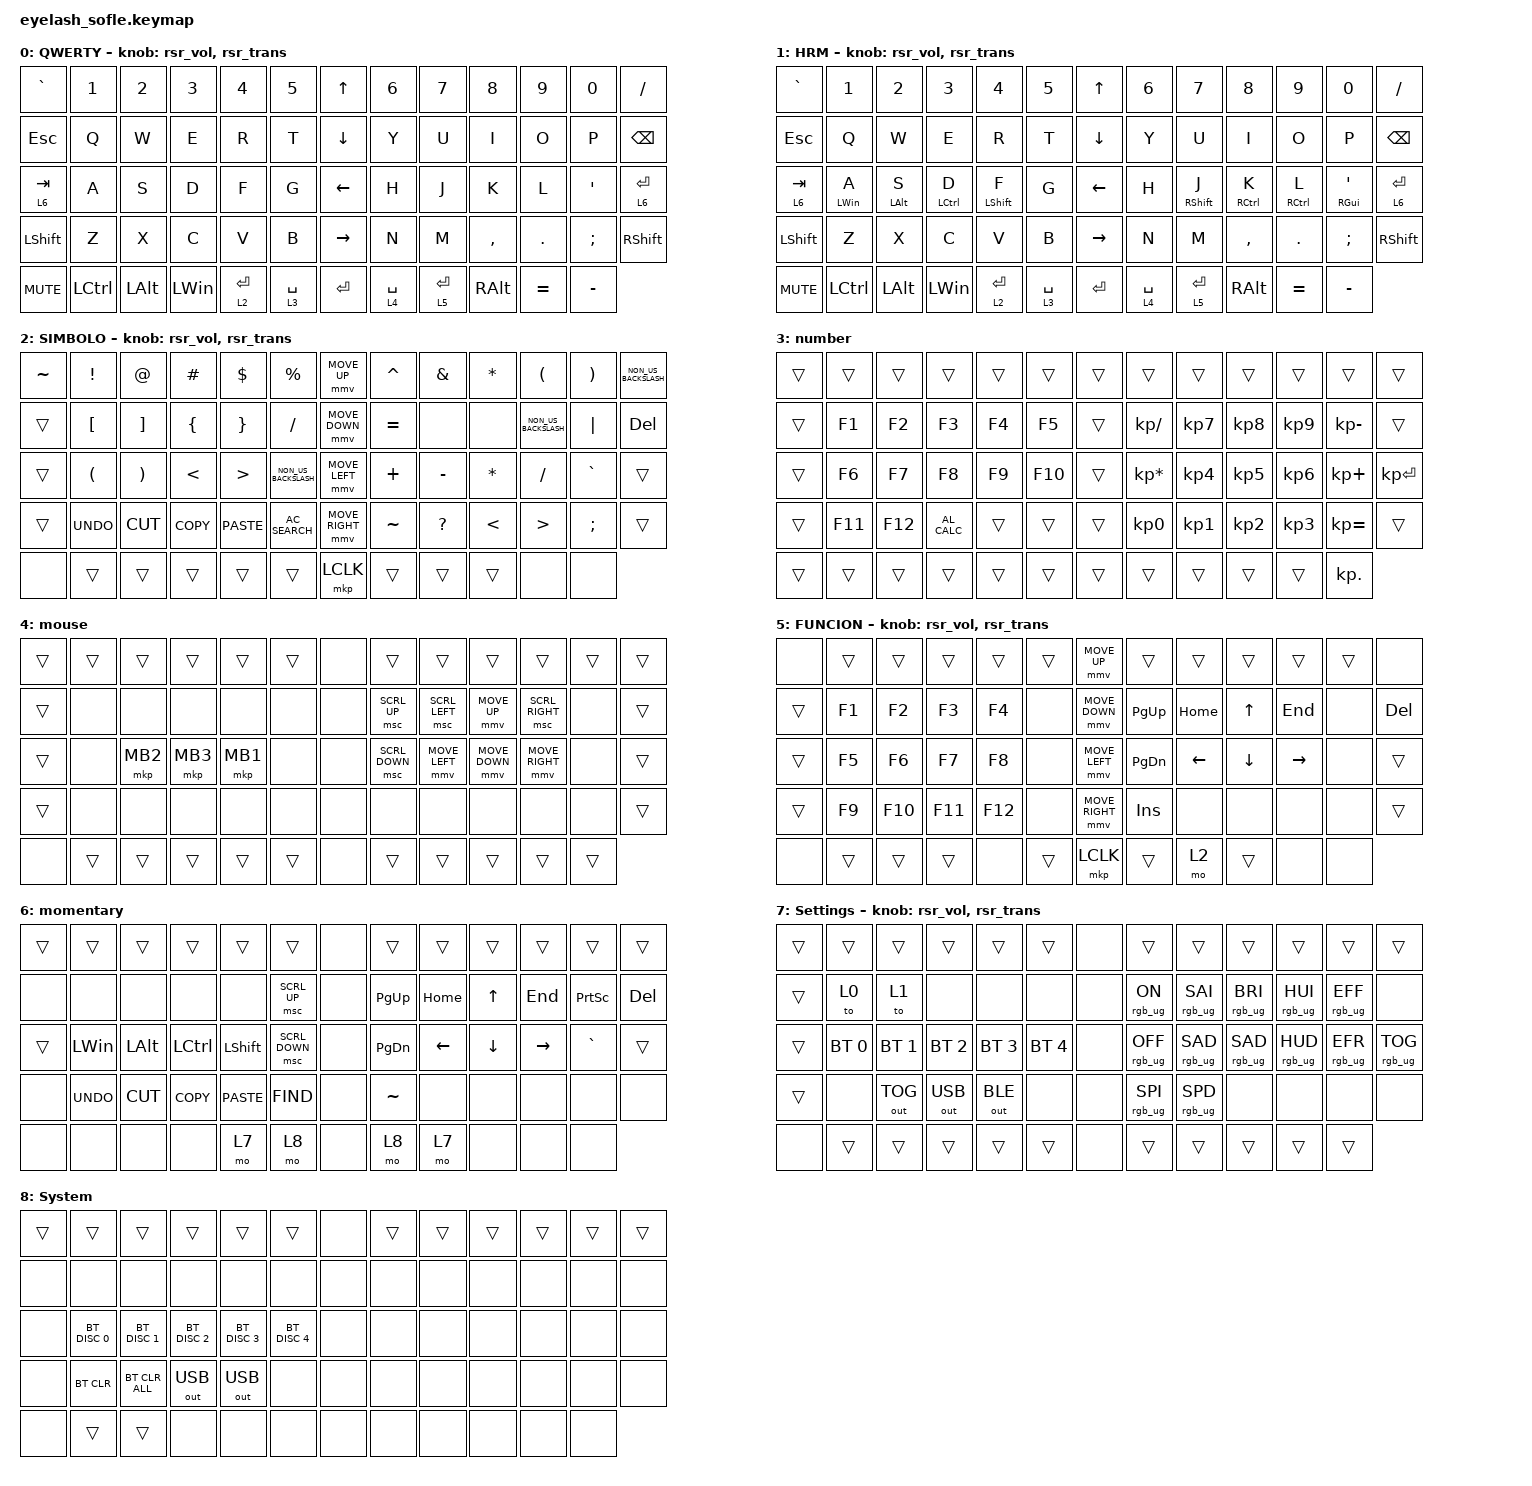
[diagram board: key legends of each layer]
#define ZMK_POINTING_DEFAULT_MOVE_VAL 1200  // 600
#define ZMK_POINTING_DEFAULT_SCRL_VAL 25   // 10

#include <input/processors.dtsi>
#include <zephyr/dt-bindings/input/input-event-codes.h>
#include <behaviors/runtime-sensor-rotate.dtsi>
#include <behaviors.dtsi>
#include <dt-bindings/zmk/bt.h>
#include <dt-bindings/zmk/keys.h>
#include <dt-bindings/zmk/outputs.h>
#include <dt-bindings/zmk/pointing.h>
#include <dt-bindings/zmk/rgb.h>

&mmv_input_listener { input-processors = <&zip_xy_scaler 2 1>; };

&msc_input_listener { input-processors = <&zip_scroll_scaler 2 1>; };

&msc {
    acceleration-exponent = <1>;      // 0
    time-to-max-speed-ms = <100>;       // 300
    delay-ms = <0>;                   // 0
};

&mmv {
    time-to-max-speed-ms = <500>;
    acceleration-exponent = <1>;
    trigger-period-ms = <16>;
};

&soft_off { hold-time-ms = <2000>; };

/ {
    scroll_encoder: scroll_encoder {
        compatible = "zmk,behavior-sensor-rotate";
        #sensor-binding-cells = <0>;
        bindings = <&msc SCRL_DOWN>, <&msc SCRL_UP>;

        tap-ms = <100>;
    };

    behaviors {
        rsr_vol: rsr_vol {
            compatible = "zmk,behavior-runtime-sensor-rotate";
            #sensor-binding-cells = <0>;
            tap-ms = <5>;
            cw-binding = <&kp C_VOL_UP>;
            ccw-binding = <&kp C_VOL_DN>;
        };

        rsr_trans: rsr_trans {
            compatible = "zmk,behavior-runtime-sensor-rotate";
            #sensor-binding-cells = <0>;
            tap-ms = <0>;
        };
    };

    combos {
        compatible = "zmk,combos";

        softoff {
            bindings = <&soft_off>;
            key-positions = <14 28 40>;
        };
    };

    macros {
        SHIFT_MCLK: SHIFT_MCLK {
            compatible = "zmk,behavior-macro";
            #binding-cells = <0>;
            bindings =
                <&macro_press>,
                <&kp LEFT_SHIFT>,
                <&macro_press>,
                <&mkp MB3>,
                <&macro_pause_for_release>,
                <&macro_release>,
                <&kp LEFT_SHIFT &mkp MB3>;

            label = "SHIFT_MCLK";
        };
    };

    keymap {
        compatible = "zmk,keymap";

        querty_layer {
            bindings = <
&kp GRAVE   &kp N1     &kp N2        &kp N3        &kp N4       &kp N5         &kp UP_ARROW     &kp N6       &kp N7       &kp N8         &kp N9     &kp N0            &kp SLASH
&kp ESCAPE  &kp Q      &kp W         &kp E         &kp R        &kp T          &kp DOWN_ARROW   &kp Y        &kp U        &kp I          &kp O      &kp P             &kp BACKSPACE
&lt 6 TAB   &kp A      &kp S         &kp D         &kp F        &kp G          &kp LEFT_ARROW   &kp H        &kp J        &kp K          &kp L      &kp SINGLE_QUOTE  &lt 6 ENTER
&kp LSHFT   &kp Z      &kp X         &kp C         &kp V        &kp B          &kp RIGHT_ARROW  &kp N        &kp M        &kp COMMA      &kp DOT    &kp SEMICOLON     &kp RIGHT_SHIFT
&kp C_MUTE  &kp LCTRL  &kp LEFT_ALT  &kp LEFT_WIN  &lt 2 ENTER  &lt 3 SPACE    &kp ENTER        &lt 4 SPACE  &lt 5 ENTER  &kp RIGHT_ALT  &kp EQUAL  &kp MINUS
            >;

            sensor-bindings = <&rsr_vol &rsr_trans>;
            display-name = "QWERTY";
        };

        hmr_layer {
            display-name = "HRM";
            bindings = <
&kp GRAVE   &kp N1          &kp N2          &kp N3              &kp N4            &kp N5         &kp UP_ARROW     &kp N6       &kp N7             &kp N8               &kp N9               &kp N0                      &kp SLASH
&kp ESCAPE  &kp Q           &kp W           &kp E               &kp R             &kp T          &kp DOWN_ARROW   &kp Y        &kp U              &kp I                &kp O                &kp P                       &kp BACKSPACE
&lt 6 TAB   &mt LEFT_WIN A  &mt LEFT_ALT S  &mt LEFT_CONTROL D  &mt LEFT_SHIFT F  &kp G          &kp LEFT_ARROW   &kp H        &mt RIGHT_SHIFT J  &mt RIGHT_CONTROL K  &mt RIGHT_CONTROL L  &mt RIGHT_GUI SINGLE_QUOTE  &lt 6 ENTER
&kp LSHFT   &kp Z           &kp X           &kp C               &kp V             &kp B          &kp RIGHT_ARROW  &kp N        &kp M              &kp COMMA            &kp DOT              &kp SEMICOLON               &kp RIGHT_SHIFT
&kp C_MUTE  &kp LCTRL       &kp LEFT_ALT    &kp LEFT_WIN        &lt 2 ENTER       &lt 3 SPACE    &kp ENTER        &lt 4 SPACE  &lt 5 ENTER        &kp RIGHT_ALT        &kp EQUAL            &kp MINUS
            >;

            sensor-bindings = <&rsr_vol>, <&rsr_trans>;
        };

        Simbolo {
            bindings = <
&kp TILDE  &kp EXCLAMATION       &kp AT_SIGN            &kp POUND       &kp DOLLAR        &kp PERCENT             &mmv MOVE_UP     &kp CARET  &kp AMPERSAND  &kp ASTERISK   &kp LEFT_PARENTHESIS  &kp RIGHT_PARENTHESIS  &kp NON_US_BACKSLASH
&trans     &kp LEFT_BRACKET      &kp RIGHT_BRACKET      &kp LEFT_BRACE  &kp RIGHT_BRACE   &kp SLASH               &mmv MOVE_DOWN   &kp EQUAL  &none          &none          &kp NON_US_BACKSLASH  &kp PIPE               &kp DEL
&trans     &kp LEFT_PARENTHESIS  &kp RIGHT_PARENTHESIS  &kp LESS_THAN   &kp GREATER_THAN  &kp NON_US_BACKSLASH    &mmv MOVE_LEFT   &kp PLUS   &kp MINUS      &kp ASTRK      &kp FSLH              &kp GRAVE              &trans
&trans     &kp K_UNDO            &kp K_CUT              &kp K_COPY      &kp K_PASTE       &kp C_AC_SEARCH         &mmv MOVE_RIGHT  &kp TILDE  &kp QUESTION   &kp LESS_THAN  &kp GREATER_THAN      &kp SEMICOLON          &trans
&none      &trans                &trans                 &trans          &trans            &trans                  &mkp LCLK        &trans     &trans         &trans         &none                 &none
            >;

            sensor-bindings = <&rsr_vol &rsr_trans>;
            display-name = "SIMBOLO";
        };

        number_layer {
            bindings = <
&trans  &trans   &trans   &trans         &trans  &trans     &trans  &trans           &trans     &trans     &trans           &trans        &trans
&trans  &kp F1   &kp F2   &kp F3         &kp F4  &kp F5     &trans  &kp KP_SLASH     &kp KP_N7  &kp KP_N8  &kp KP_NUMBER_9  &kp KP_MINUS  &trans
&trans  &kp F6   &kp F7   &kp F8         &kp F9  &kp F10    &trans  &kp KP_MULTIPLY  &kp KP_N4  &kp KP_N5  &kp KP_N6        &kp KP_PLUS   &kp KP_ENTER
&trans  &kp F11  &kp F12  &kp C_AL_CALC  &trans  &trans     &trans  &kp KP_N0        &kp KP_N1  &kp KP_N2  &kp KP_N3        &kp KP_EQUAL  &trans
&trans  &trans   &trans   &trans         &trans  &trans     &trans  &trans           &trans     &trans     &trans           &kp KP_DOT
            >;

            label = "number";
        };

        mouse_layer {
            bindings = <
&trans  &trans  &trans    &trans    &trans    &trans    &none  &trans          &trans          &trans          &trans           &trans  &trans
&trans  &none   &none     &none     &none     &none     &none  &msc SCRL_UP    &msc SCRL_LEFT  &mmv MOVE_UP    &msc SCRL_RIGHT  &none   &trans
&trans  &none   &mkp MB2  &mkp MB3  &mkp MB1  &none     &none  &msc SCRL_DOWN  &mmv MOVE_LEFT  &mmv MOVE_DOWN  &mmv MOVE_RIGHT  &none   &trans
&trans  &none   &none     &none     &none     &none     &none  &none           &none           &none           &none            &none   &trans
&none   &trans  &trans    &trans    &trans    &trans    &none  &trans          &trans          &trans          &trans           &trans
            >;

            label = "mouse";
        };

        Funciones {
            bindings = <
&none   &trans  &trans   &trans   &trans   &trans    &mmv MOVE_UP     &trans         &trans    &trans          &trans     &trans  &none
&trans  &kp F1  &kp F2   &kp F3   &kp F4   &none     &mmv MOVE_DOWN   &kp PAGE_UP    &kp HOME  &kp UP_ARROW    &kp END    &none   &kp DEL
&trans  &kp F5  &kp F6   &kp F7   &kp F8   &none     &mmv MOVE_LEFT   &kp PAGE_DOWN  &kp LEFT  &kp DOWN_ARROW  &kp RIGHT  &none   &trans
&trans  &kp F9  &kp F10  &kp F11  &kp F12  &none     &mmv MOVE_RIGHT  &kp INSERT     &none     &none           &none      &none   &trans
&none   &trans  &trans   &trans   &none    &trans    &mkp LCLK        &trans         &mo 2     &trans          &none      &none
            >;

            display-name = "FUNCION";
            sensor-bindings = <&rsr_vol &rsr_trans>;
        };

        maxtend_layer {
            bindings = <
&trans  &trans        &trans        &trans            &trans          &trans            &none  &trans         &trans    &trans        &trans     &trans           &trans
&none   &none         &none         &none             &none           &msc SCRL_UP      &none  &kp PAGE_UP    &kp HOME  &kp UP_ARROW  &kp END    &kp PRINTSCREEN  &kp DEL
&trans  &kp LEFT_WIN  &kp LEFT_ALT  &kp LEFT_CONTROL  &kp LEFT_SHIFT  &msc SCRL_DOWN    &none  &kp PAGE_DOWN  &kp LEFT  &kp DOWN      &kp RIGHT  &kp GRAVE        &trans
&none   &kp K_UNDO    &kp K_CUT     &kp K_COPY        &kp K_PASTE     &kp K_FIND        &none  &kp TILDE      &none     &none         &none      &none            &none
&none   &none         &none         &none             &mo 7           &mo 8             &none  &mo 8          &mo 7     &none         &none      &none
            >;

            label = "momentary";
        };

        settings_layer {
            display-name = "Settings";
            bindings = <
&trans  &trans        &trans        &trans        &trans        &trans          &none  &trans           &trans           &trans           &trans           &trans           &trans
&trans  &to 0         &to 1         &none         &none         &none           &none  &rgb_ug RGB_ON   &rgb_ug RGB_SAI  &rgb_ug RGB_BRI  &rgb_ug RGB_HUI  &rgb_ug RGB_EFF  &none
&trans  &bt BT_SEL 0  &bt BT_SEL 1  &bt BT_SEL 2  &bt BT_SEL 3  &bt BT_SEL 4    &none  &rgb_ug RGB_OFF  &rgb_ug RGB_SAD  &rgb_ug RGB_SAD  &rgb_ug RGB_HUD  &rgb_ug RGB_EFR  &rgb_ug RGB_TOG
&trans  &none         &out OUT_TOG  &out OUT_USB  &out OUT_BLE  &none           &none  &rgb_ug RGB_SPI  &rgb_ug RGB_SPD  &none            &none            &none            &none
&none   &trans        &trans        &trans        &trans        &trans          &none  &trans           &trans           &trans           &trans           &trans
            >;

            sensor-bindings = <&rsr_vol>, <&rsr_trans>;
        };

        system_layer {
            bindings = <
&trans  &trans         &trans          &trans         &trans         &trans           &none  &trans  &trans  &trans  &trans  &trans  &trans
&none   &none          &none           &none          &none          &none            &none  &none   &none   &none   &none   &none   &none
&none   &bt BT_DISC 0  &bt BT_DISC 1   &bt BT_DISC 2  &bt BT_DISC 3  &bt BT_DISC 4    &none  &none   &none   &none   &none   &none   &none
&none   &bt BT_CLR     &bt BT_CLR_ALL  &out OUT_USB   &out OUT_USB   &none            &none  &none   &none   &none   &none   &none   &none
&none   &trans         &trans          &none          &none          &none            &none  &none   &none   &none   &none   &none
            >;

            label = "System";
        };
    };
};
